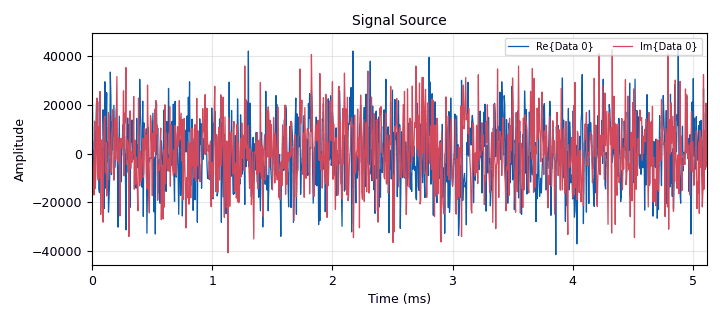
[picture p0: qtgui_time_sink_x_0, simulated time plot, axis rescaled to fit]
options:
  parameters:
    author: seolubuntu
    generate_options: qt_gui
    id: noiseTxRx
    output_language: python
    title: Not titled yet
  states: {}

blocks:
- name: fc
  id: variable
  parameters:
    value: 100e6
  states: {}
- name: rxgain
  id: variable
  parameters:
    value: '30'
  states: {}
- name: samp_rate
  id: variable
  parameters:
    value: 200e3
  states: {}
- name: txgain
  id: variable
  parameters:
    value: '30'
  states: {}
- name: analog_fastnoise_source_x_0
  id: analog_fastnoise_source_x
  parameters:
    amp: 20e3
    noise_type: analog.GR_GAUSSIAN
    samples: '8192'
    seed: '0'
    type: complex
  states: {}
- name: qtgui_time_sink_x_0
  id: qtgui_time_sink_x
  parameters:
    name: Signal Source
    size: '1024'
    srate: samp_rate
    type: complex
  states: {}
- name: qtgui_time_sink_x_0_0
  id: qtgui_time_sink_x
  parameters:
    name: Receiver
    size: '1024'
    srate: samp_rate
    type: complex
  states: {}
- name: uhd_usrp_sink_0
  id: uhd_usrp_sink
  parameters:
    ant0: '"TX/RX"'
    center_freq0: fc
    gain0: txgain
    samp_rate: samp_rate
    sync: sync
    type: fc32
  states: {}
- name: uhd_usrp_source_0
  id: uhd_usrp_source
  parameters:
    ant0: '"RX2"'
    center_freq0: fc
    gain0: rxgain
    samp_rate: samp_rate
    sync: sync
    type: fc32
  states: {}

connections:
- [analog_fastnoise_source_x_0, '0', qtgui_time_sink_x_0, '0']
- [analog_fastnoise_source_x_0, '0', uhd_usrp_sink_0, '0']
- [uhd_usrp_source_0, '0', qtgui_time_sink_x_0_0, '0']

metadata:
  file_format: 1
